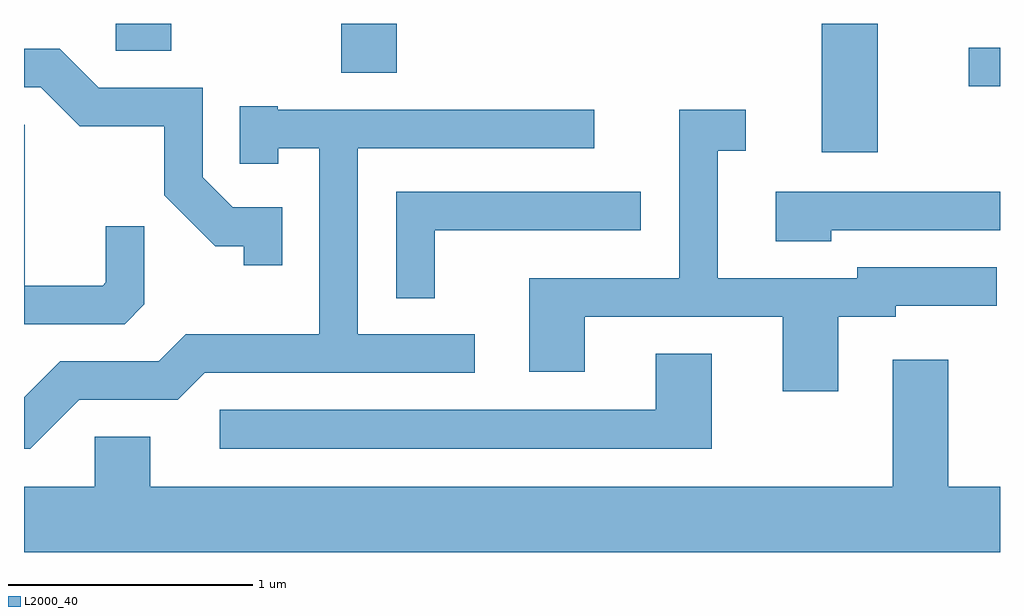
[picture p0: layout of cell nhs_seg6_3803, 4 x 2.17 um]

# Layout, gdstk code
import gdstk
lib = gdstk.Library(unit=1e-6, precision=1e-09)
def R(c, l, rs):  # rectangles x0, y0, x1, y1
    for r in rs: c.add(gdstk.rectangle(r[:2], r[2:], *l))
def P(c, l, *ps):  # polygons
    for p in ps: c.add(gdstk.Polygon(p, *l))
L2000_40 = (2000, 40)

nhs_seg6_3803 = lib.new_cell('nhs_seg6_3803')
R(nhs_seg6_3803, L2000_40, [(302.881,1591.636,303.109,1592.162), (303.483,1591.906,303.611,1592.064), (300.911,1591.961,301.139,1592.162), (299.986,1592.051,300.214,1592.162)])
P(nhs_seg6_3803, L2000_40, [(300.669,1591.409),(300.467,1591.409),(300.344,1591.532),(300.344,1591.899),(299.917,1591.899),(299.757,1592.059),(299.611,1592.059),(299.611,1591.901),(299.679,1591.901),(299.839,1591.741),(300.186,1591.741),(300.186,1591.459),(300.394,1591.251),(300.511,1591.251),(300.511,1591.173),(300.669,1591.173)],
  [(299.837,1590.621),(300.242,1590.621),(300.352,1590.731),(301.458,1590.731),(301.458,1590.889),(300.979,1590.889),(300.979,1591.651),(301.948,1591.651),(301.948,1591.809),(300.65,1591.809),(300.65,1591.824),(300.496,1591.824),(300.496,1591.588),(300.654,1591.588),(300.654,1591.651),(300.821,1591.651),(300.821,1590.889),(300.274,1590.889),(300.164,1590.779),(299.759,1590.779),(299.611,1590.631),(299.611,1590.421),(299.637,1590.421)],
  [(302.949,1590.961),(303.184,1590.961),(303.184,1591.006),(303.598,1591.006),(303.598,1591.164),(303.026,1591.164),(303.026,1591.119),(302.454,1591.119),(302.454,1591.641),(302.568,1591.641),(302.568,1591.809),(302.296,1591.809),(302.296,1591.119),(301.681,1591.119),(301.681,1590.736),(301.909,1590.736),(301.909,1590.961),(302.721,1590.961),(302.721,1590.656),(302.949,1590.656)],
  [(300.104,1591.012),(300.104,1591.333),(299.946,1591.333),(299.946,1591.102),(299.934,1591.089),(299.614,1591.089),(299.614,1591.749),(299.611,1591.749),(299.611,1590.931),(300.024,1590.931)],
  [(302.919,1591.316),(303.611,1591.316),(303.611,1591.474),(302.691,1591.474),(302.691,1591.271),(302.919,1591.271)],
  [(301.294,1591.316),(302.138,1591.316),(302.138,1591.474),(301.136,1591.474),(301.136,1591.038),(301.294,1591.038)],
  [(302.429,1590.809),(302.201,1590.809),(302.201,1590.579),(300.413,1590.579),(300.413,1590.421),(302.429,1590.421)],
  [(303.611,1590.264),(303.399,1590.264),(303.399,1590.784),(303.171,1590.784),(303.171,1590.264),(300.129,1590.264),(300.129,1590.469),(299.901,1590.469),(299.901,1590.264),(299.611,1590.264),(299.611,1589.996),(303.611,1589.996)])

lib.write_gds('nhs_seg6_3803.gds')
